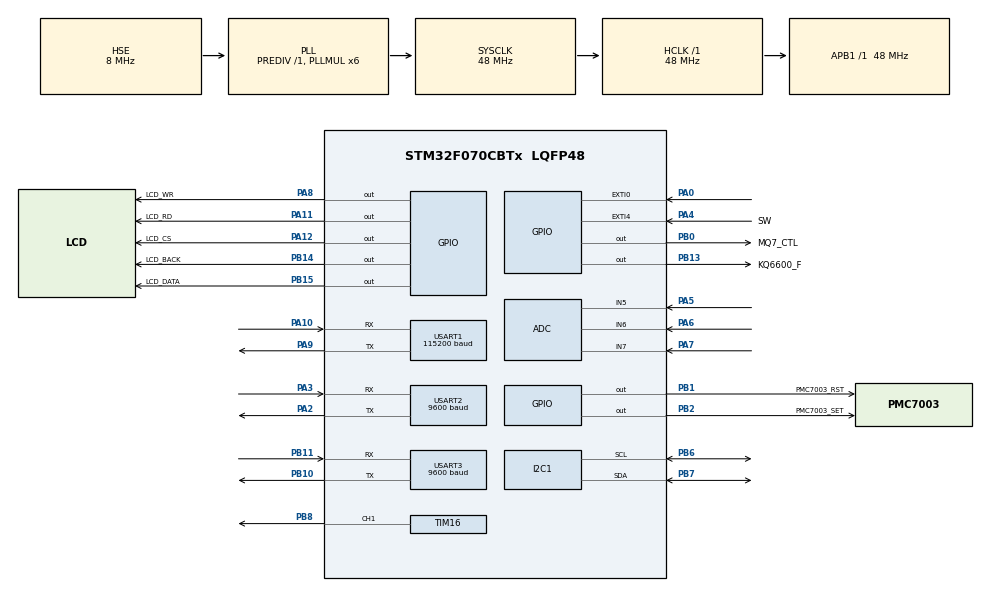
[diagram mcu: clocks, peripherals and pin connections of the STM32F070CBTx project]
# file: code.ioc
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ADC.ContinuousConvMode=ENABLE
ADC.SamplingTime=ADC_SAMPLETIME_41CYCLES_5
Mcu.Family=STM32F0
Mcu.Name=STM32F070CBTx
Mcu.Package=LQFP48
NVIC.EXTI0_1_IRQn=true\:1\:0\:true\:true\:true\:5\:true\:true
NVIC.RTC_IRQn=true\:0\:0\:false\:true\:true\:4\:true\:true
NVIC.TIM16_IRQn=true\:3\:0\:true\:true\:true\:3\:true\:true
NVIC.USART2_IRQn=true\:2\:0\:true\:true\:true\:1\:true\:true
NVIC.USART3_4_IRQn=true\:2\:0\:true\:true\:true\:2\:true\:true
PA0.Signal=GPXTI0
PA10.Mode=Asynchronous
PA10.Signal=USART1_RX
PA11.GPIO_Label=LCD_RD
PA11.Signal=GPIO_Output
PA12.GPIO_Label=LCD_CS
PA12.PinState=GPIO_PIN_SET
PA12.Signal=GPIO_Output
PA13.Mode=Serial_Wire
PA13.Signal=SYS_SWDIO
PA14.Mode=Serial_Wire
PA14.Signal=SYS_SWCLK
PA2.Mode=Asynchronous
PA2.Signal=USART2_TX
PA3.Mode=Asynchronous
PA3.Signal=USART2_RX
PA4.GPIO_Label=SW
PA4.Signal=GPXTI4
PA5.Mode=IN5
PA5.Signal=ADC_IN5
PA6.Mode=IN6
PA6.Signal=ADC_IN6
PA7.Mode=IN7
PA7.Signal=ADC_IN7
PA8.GPIO_Label=LCD_WR
PA8.Signal=GPIO_Output
PA9.Mode=Asynchronous
PA9.Signal=USART1_TX
PB0.GPIO_Label=MQ7_CTL
PB0.Signal=GPIO_Output
PB1.GPIO_Label=PMC7003_RST
PB1.Signal=GPIO_Output
PB10.Mode=Asynchronous
PB10.Signal=USART3_TX
PB11.Mode=Asynchronous
PB11.Signal=USART3_RX
PB13.GPIO_Label=KQ6600_F
PB13.Signal=GPIO_Output
PB14.GPIO_Label=LCD_BACK
PB14.Signal=GPIO_Output
PB15.GPIO_Label=LCD_DATA
PB15.Signal=GPIO_Output
PB2.GPIO_Label=PMC7003_SET
PB2.Signal=GPIO_Output
PB6.Mode=I2C
PB6.Signal=I2C1_SCL
PB7.Mode=I2C
PB7.Signal=I2C1_SDA
PB8.Signal=S_TIM16_CH1
PC14-OSC32_IN.Mode=LSE-External-Oscillator
PC14-OSC32_IN.Signal=RCC_OSC32_IN
PC15-OSC32_OUT.Mode=LSE-External-Oscillator
PC15-OSC32_OUT.Signal=RCC_OSC32_OUT
PF0-OSC_IN.Mode=HSE-External-Oscillator
PF0-OSC_IN.Signal=RCC_OSC_IN
PF1-OSC_OUT.Mode=HSE-External-Oscillator
PF1-OSC_OUT.Signal=RCC_OSC_OUT
ProjectManager.HeapSize=0x200
ProjectManager.StackSize=0x400
ProjectManager.TargetToolchain=MDK-ARM V5
RCC.AHBFreq_Value=48000000
RCC.APB1Freq_Value=48000000
RCC.APB1TimFreq_Value=48000000
RCC.HCLKFreq_Value=48000000
RCC.PLLMUL=RCC_PLL_MUL6
RCC.PLLSourceVirtual=RCC_PLLSOURCE_HSE
RCC.SYSCLKFreq_VALUE=48000000
RCC.SYSCLKSource=RCC_SYSCLKSOURCE_PLLCLK
RTC.Alarm-Alarm\ A=RTC_ALARM_A
SH.S_TIM16_CH1.0=TIM16_CH1,PWM Generation1 CH1
TIM16.Channel=TIM_CHANNEL_1
USART1.BaudRate=115200
USART1.VirtualMode-Asynchronous=VM_ASYNC
USART2.BaudRate=9600
USART2.VirtualMode-Asynchronous=VM_ASYNC
USART3.BaudRate=9600
USART3.VirtualMode-Asynchronous=VM_ASYNC
VP_ADC_Vref_Input.Mode=IN-Vrefint
VP_RTC_VS_RTC_Activate.Mode=RTC_Enabled
VP_RTC_VS_RTC_Alarm_A_Intern.Mode=Alarm A
VP_RTC_VS_RTC_Calendar.Mode=RTC_Calendar
VP_TIM16_VS_ClockSourceINT.Mode=Enable_Timer
board=custom

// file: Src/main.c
/* USER CODE BEGIN Header */
/**
  ******************************************************************************
  * @file           : main.c
  * @brief          : Main program body
  ******************************************************************************
  * @attention
  *
  * <h2><center>&copy; Copyright (c) 2019 STMicroelectronics.
  * All rights reserved.</center></h2>
  *
  * This software component is licensed by ST under BSD 3-Clause license,
  * the "License"; You may not use this file except in compliance with the
  * License. You may obtain a copy of the License at:
  *                        opensource.org/licenses/BSD-3-Clause
  *
  ******************************************************************************
  */
/* USER CODE END Header */

#include "main.h"
#include "adc.h"
#include "i2c.h"
#include "rtc.h"
#include "tim.h"
#include "usart.h"
#include "gpio.h"

/* USER CODE BEGIN Includes */
#include "userapp.h"
#include "Tm1622.h"
#include "Key.h"
/* USER CODE END Includes */

/* USER CODE BEGIN PV */

#define		SYSTIME		(10*60*1000U) //10分钟

/* USER CODE END PV */

void SystemClock_Config(void);
void MX_NVIC_Init(void);

/* USER CODE BEGIN 0 */

bool bUserAppSleep = false;
extern bool bRtcSleepMode;

uint32_t ulSysWorkTime = 0;

/* USER CODE END 0 */

int main(void)
{
  /* USER CODE BEGIN 1 */
  /**** 任务执行完成休眠状态 ****/
  bool bSleepMode = false;
  /* USER CODE END 1 */

  /* MCU Configuration--------------------------------------------------------*/

  /* Reset of all peripherals, Initializes the Flash interface and the Systick. */
  HAL_Init();

  /* Configure the system clock */
  SystemClock_Config();

  /* Initialize all configured peripherals */
  MX_GPIO_Init();
  MX_ADC_Init();
  MX_I2C1_Init();
  MX_USART1_UART_Init();
  MX_USART2_UART_Init();
  MX_USART3_UART_Init();
  MX_RTC_Init();
  MX_TIM16_Init();

  /* Initialize interrupts */
  MX_NVIC_Init();
  /* USER CODE BEGIN 2 */

  BOARD_POWER_EN;
  POWER_5V_EN;
  HAL_Delay(100);
  /**** CO 5V 加热 ****/
//  MQ7_5V_EN;
  ulMQ5vHeatTime = HAL_GetTick();

  HAL_TIM_PWM_Start(&htim16,TIM_CHANNEL_1);
  HAL_TIM_Base_Start_IT(&htim16);
  printf("hello world\r\n");

  vKeyInit( );
  vKeyWorkStatusJudgment(  );

  ulSysWorkTime = HAL_GetTick();

  init_tm1622();
  vStaticDisplay( );
  vUappSensorInit( );

  /* USER CODE END 2 */

  /* Infinite loop */
  while (1)
  {

    /* USER CODE BEGIN 3 */
	 DEBUG_APP(2,"Bat_Charg = %d",HAL_GPIO_ReadPin(BAT_CHARG_GPIO_Port, BAT_CHARG_Pin));
	 bSleepMode = bUppSensorDisplay( );
	 vUppBeepDisplay( );

	/**** 按键短按屏幕显示，同时恢复RTC时间休眠 ****/
	if(bRtcSleepMode)
	{
		bRtcSleepMode = false;
		if(ulCurrentSleepTime>0)
		{
			bUserAppSleep = true;
			if(bUppSensorDisplay( ))
			{
				vUppRtcAlarm(ulCurrentSleepTime);
				vUppIntoLowPower( );
			}
		}
	}
	else
	{
		printf("welcome\r\n");
		bUserAppSleep = true;
		if(bSleepMode && (HAL_GetTick()-ulSysWorkTime>SYSTIME)) ///目前常亮屏幕3分钟， 改SYSTIME
		{
			bSleepMode = false;
			vUppRtcAlarm(60);    ///目前休眠60S 可以根据实际改
			vUppIntoLowPower( );
		}
	}

  }
  /* USER CODE END 3 */
}

void SystemClock_Config(void)
{
  RCC_OscInitTypeDef RCC_OscInitStruct = {0};
  RCC_ClkInitTypeDef RCC_ClkInitStruct = {0};
  RCC_PeriphCLKInitTypeDef PeriphClkInit = {0};

  /** Initializes the CPU, AHB and APB busses clocks
  */
  RCC_OscInitStruct.OscillatorType = RCC_OSCILLATORTYPE_HSI|RCC_OSCILLATORTYPE_HSI14
                              |RCC_OSCILLATORTYPE_LSI|RCC_OSCILLATORTYPE_HSE;
  RCC_OscInitStruct.HSEState = RCC_HSE_ON;
  RCC_OscInitStruct.HSIState = RCC_HSI_ON;
  RCC_OscInitStruct.HSI14State = RCC_HSI14_ON;
  RCC_OscInitStruct.HSICalibrationValue = RCC_HSICALIBRATION_DEFAULT;
  RCC_OscInitStruct.HSI14CalibrationValue = 16;
  RCC_OscInitStruct.LSIState = RCC_LSI_ON;
  RCC_OscInitStruct.PLL.PLLState = RCC_PLL_ON;
  RCC_OscInitStruct.PLL.PLLSource = RCC_PLLSOURCE_HSE;
  RCC_OscInitStruct.PLL.PLLMUL = RCC_PLL_MUL6;
  RCC_OscInitStruct.PLL.PREDIV = RCC_PREDIV_DIV1;
  if (HAL_RCC_OscConfig(&RCC_OscInitStruct) != HAL_OK)
  {
    Error_Handler();
  }
  /** Initializes the CPU, AHB and APB busses clocks
  */
  RCC_ClkInitStruct.ClockType = RCC_CLOCKTYPE_HCLK|RCC_CLOCKTYPE_SYSCLK
                              |RCC_CLOCKTYPE_PCLK1;
  RCC_ClkInitStruct.SYSCLKSource = RCC_SYSCLKSOURCE_PLLCLK;
  RCC_ClkInitStruct.AHBCLKDivider = RCC_SYSCLK_DIV1;
  RCC_ClkInitStruct.APB1CLKDivider = RCC_HCLK_DIV1;

  if (HAL_RCC_ClockConfig(&RCC_ClkInitStruct, FLASH_LATENCY_1) != HAL_OK)
  {
    Error_Handler();
  }
  PeriphClkInit.PeriphClockSelection = RCC_PERIPHCLK_USART1|RCC_PERIPHCLK_I2C1
                              |RCC_PERIPHCLK_RTC;
  PeriphClkInit.Usart1ClockSelection = RCC_USART1CLKSOURCE_PCLK1;
  PeriphClkInit.I2c1ClockSelection = RCC_I2C1CLKSOURCE_HSI;
  PeriphClkInit.RTCClockSelection = RCC_RTCCLKSOURCE_LSI;
  if (HAL_RCCEx_PeriphCLKConfig(&PeriphClkInit) != HAL_OK)
  {
    Error_Handler();
  }
}

/**
  * @brief NVIC Configuration.
  * @retval None
  */
void MX_NVIC_Init(void)
{
  /* USART2_IRQn interrupt configuration */
  HAL_NVIC_SetPriority(USART2_IRQn, 2, 0);
  HAL_NVIC_EnableIRQ(USART2_IRQn);
  /* USART3_4_IRQn interrupt configuration */
  HAL_NVIC_SetPriority(USART3_4_IRQn, 2, 0);
  HAL_NVIC_EnableIRQ(USART3_4_IRQn);
  /* TIM16_IRQn interrupt configuration */
  HAL_NVIC_SetPriority(TIM16_IRQn, 3, 0);
  HAL_NVIC_EnableIRQ(TIM16_IRQn);
  /* RTC_IRQn interrupt configuration */
  HAL_NVIC_SetPriority(RTC_IRQn, 1, 0);
  HAL_NVIC_EnableIRQ(RTC_IRQn);
  /* EXTI0_1_IRQn interrupt configuration */
//  HAL_NVIC_SetPriority(EXTI0_1_IRQn, 1, 0);
//  HAL_NVIC_EnableIRQ(EXTI0_1_IRQn);
}

void Error_Handler(void)
{
  /* USER CODE BEGIN Error_Handler_Debug */
  /* User can add his own implementation to report the HAL error return state */
   DEBUG_ERROR(2, "%s",__func__);
  /* USER CODE END Error_Handler_Debug */
}

/************************ (C) COPYRIGHT STMicroelectronics *****END OF FILE****/
